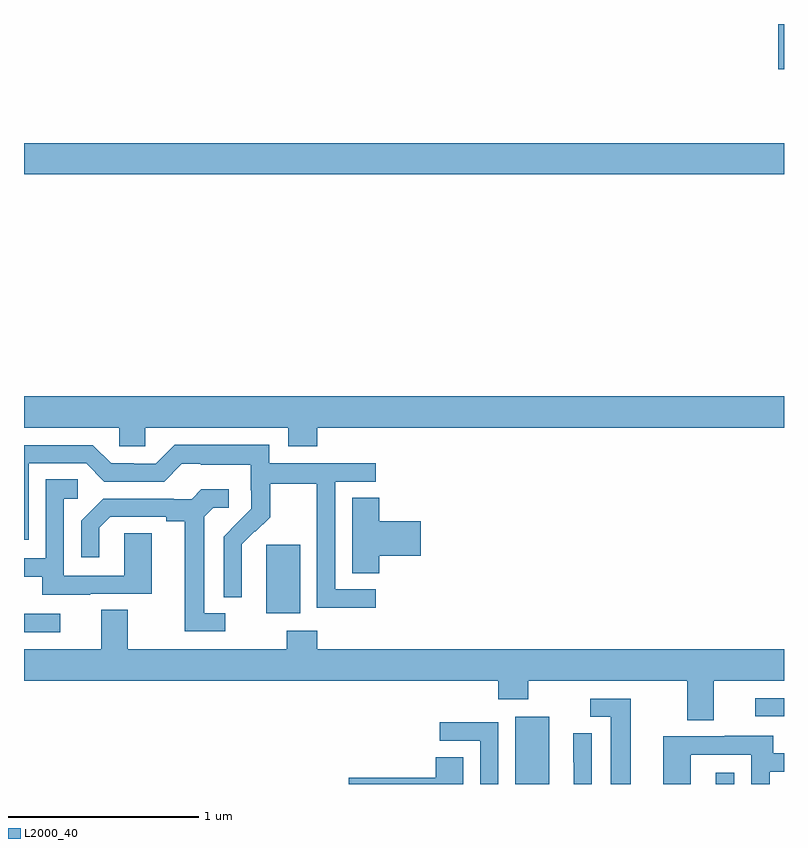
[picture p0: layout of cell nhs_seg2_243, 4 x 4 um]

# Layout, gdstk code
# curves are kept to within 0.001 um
import gdstk
lib = gdstk.Library(unit=1e-6, precision=1e-09)
def R(c, l, rs):  # rectangles x0, y0, x1, y1
    for r in rs: c.add(gdstk.rectangle(r[:2], r[2:], *l))
def P(c, l, *ps):  # polygons
    for p in ps: c.add(gdstk.Polygon(p, *l))
L2000_40 = (2000, 40)

nhs_seg2_243 = lib.new_cell('nhs_seg2_243')
R(nhs_seg2_243, L2000_40, [(125.585,605.8,125.764,606.154), (126.641,605.8,126.738,605.86), (126.849,606.156,127,606.252), (123,606.6,123.19,606.696), (124.274,606.698,124.453,607.059), (123,609.008,127,609.172), (126.971,609.561,127,609.8)])
P(nhs_seg2_243, L2000_40, [(124.544,607.676),(127,607.676),(127,607.84),(123,607.84),(123,607.676),(123.501,607.676),(123.501,607.578),(123.639,607.578),(123.639,607.676),(124.391,607.676),(124.391,607.577),(124.544,607.577)],
  [(124.852,606.825),(124.638,606.825),(124.638,607.392),(124.852,607.392),(124.852,607.488),(124.29,607.488),(124.29,607.585),(123.793,607.585),(123.693,607.485),(123.578,607.485),(123.578,607.488),(123.459,607.488),(123.363,607.584),(123,607.584),(123,607.086),(123.024,607.086),(123.024,607.488),(123.327,607.488),(123.423,607.392),(123.738,607.392),(123.831,607.485),(123.931,607.485),(123.931,607.481),(124.194,607.481),(124.194,607.347),(124.196,607.347),(124.196,607.25),(124.05,607.102),(124.05,606.784),(124.146,606.784),(124.145,607.061),(124.215,607.131),(124.218,607.128),(124.295,607.205),(124.295,607.38),(124.54,607.38),(124.54,607.156),(124.542,607.156),(124.542,606.727),(124.852,606.727)],
  [(123.349,606.801),(123.673,606.801),(123.673,607.121),(123.528,607.121),(123.528,606.897),(123.21,606.897),(123.21,607.302),(123.283,607.302),(123.283,607.403),(123.114,607.403),(123.114,606.987),(123,606.987),(123,606.891),(123.095,606.891),(123.095,606.797),(123.349,606.797)],
  [(124.06,606.699),(123.949,606.699),(123.949,607.207),(123.996,607.254),(124.078,607.254),(124.078,607.351),(123.934,607.351),(123.882,607.299),(123.788,607.299),(123.788,607.302),(123.416,607.302),(123.3,607.186),(123.3,606.993),(123.397,606.993),(123.397,607.149),(123.454,607.206),(123.749,607.206),(123.749,607.184),(123.845,607.184),(123.845,606.603),(124.06,606.603)],
  [(124.871,607.001),(125.089,607.001),(125.089,607.184),(124.871,607.184),(124.871,607.307),(124.727,607.307),(124.727,606.91),(124.871,606.91)],
  [(126.631,606.344),(127,606.344),(127,606.508),(124.544,606.508),(124.544,606.607),(124.384,606.607),(124.384,606.508),(123.547,606.508),(123.547,606.716),(123.407,606.716),(123.407,606.508),(123,606.508),(123,606.344),(125.495,606.344),(125.495,606.245),(125.655,606.245),(125.655,606.344),(126.491,606.344),(126.491,606.136),(126.631,606.136)],
  [(126.193,606.249),(125.979,606.249),(125.979,606.153),(126.089,606.153),(126.089,605.8),(126.193,605.8)],
  [(125.496,606.126),(125.187,606.126),(125.187,606.027),(125.4,606.027),(125.4,605.8),(125.496,605.8)],
  [(125.988,606.068),(125.892,606.068),(125.892,605.914),(125.894,605.914),(125.894,605.8),(125.988,605.8)],
  [(126.51,605.955),(126.828,605.955),(126.828,605.8),(126.924,605.8),(126.924,605.865),(127,605.865),(127,605.961),(126.943,605.961),(126.943,606.055),(126.689,606.055),(126.689,606.051),(126.365,606.051),(126.365,605.8),(126.51,605.8)],
  [(125.311,605.942),(125.168,605.942),(125.168,605.834),(124.71,605.834),(124.71,605.8),(125.311,605.8)])

lib.write_gds('nhs_seg2_243.gds')
